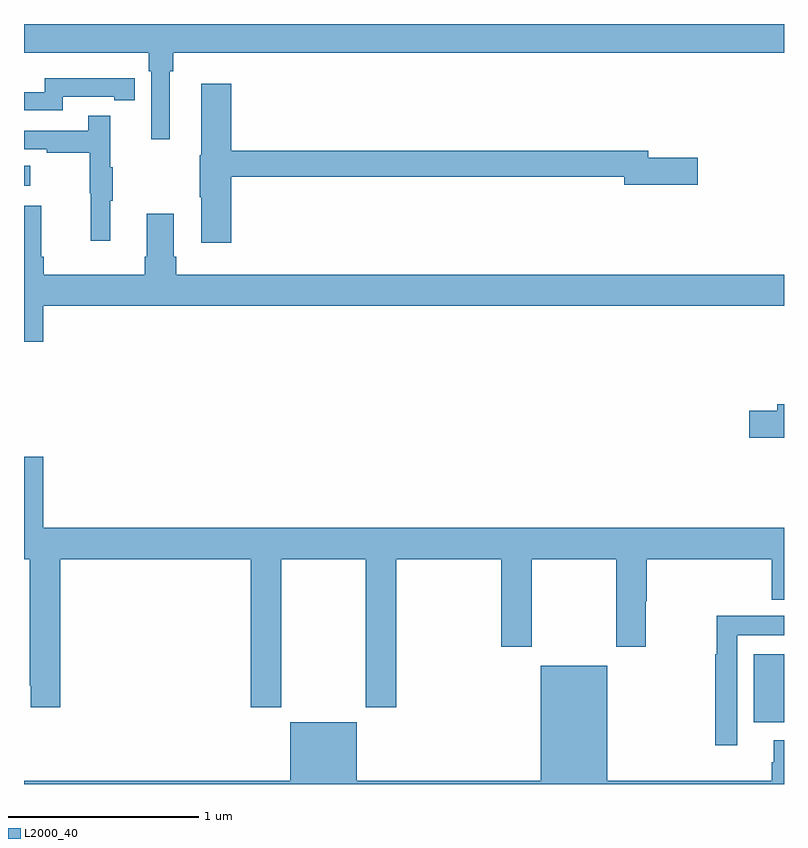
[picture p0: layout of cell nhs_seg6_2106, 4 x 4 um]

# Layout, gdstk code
import gdstk
lib = gdstk.Library(unit=1e-6, precision=1e-09)
def R(c, l, rs):  # rectangles x0, y0, x1, y1
    for r in rs: c.add(gdstk.rectangle(r[:2], r[2:], *l))
def P(c, l, *ps):  # polygons
    for p in ps: c.add(gdstk.Polygon(p, *l))
L2000_40 = (2000, 40)

nhs_seg6_2106 = lib.new_cell('nhs_seg6_2106')
R(nhs_seg6_2106, L2000_40, [(240.842,931.824,241,932.182), (237,934.649,237.034,934.753)])
P(nhs_seg6_2106, L2000_40, [(237.766,935.252),(237.785,935.252),(237.785,935.348),(241,935.348),(241,935.5),(237,935.5),(237,935.348),(237.656,935.348),(237.656,935.252),(237.669,935.252),(237.669,934.893),(237.766,934.893)],
  [(237.204,935.118),(237.476,935.118),(237.476,935.098),(237.584,935.098),(237.584,935.214),(237.476,935.214),(237.476,935.215),(237.108,935.215),(237.108,935.142),(237,935.142),(237,935.046),(237.204,935.046)],
  [(238.091,934.696),(240.158,934.696),(240.158,934.654),(240.547,934.654),(240.547,934.796),(240.286,934.796),(240.286,934.832),(238.091,934.832),(238.091,935.185),(237.932,935.185),(237.932,934.809),(237.925,934.809),(237.925,934.588),(237.932,934.588),(237.932,934.35),(238.091,934.35)],
  [(237.455,934.571),(237.466,934.571),(237.466,934.745),(237.455,934.745),(237.455,935.017),(237.337,935.017),(237.337,934.938),(237,934.938),(237,934.842),(237.121,934.842),(237.121,934.822),(237.345,934.822),(237.345,934.608),(237.352,934.608),(237.352,934.359),(237.455,934.359)],
  [(237.1,934.016),(241,934.016),(241,934.18),(237.8,934.18),(237.8,934.276),(237.787,934.276),(237.787,934.501),(237.647,934.501),(237.647,934.276),(237.635,934.276),(237.635,934.18),(237.104,934.18),(237.104,934.276),(237.091,934.276),(237.091,934.543),(237,934.543),(237,933.828),(237.1,933.828)],
  [(241,933.5),(240.965,933.5),(240.965,933.464),(240.816,933.464),(240.816,933.322),(241,933.322)],
  [(237.191,932.684),(238.193,932.684),(238.193,931.905),(238.353,931.905),(238.353,932.684),(238.798,932.684),(238.798,931.905),(238.958,931.905),(238.958,932.684),(239.513,932.684),(239.513,932.223),(239.673,932.223),(239.673,932.684),(240.118,932.684),(240.118,932.223),(240.273,932.223),(240.273,932.462),(240.278,932.462),(240.278,932.684),(240.935,932.684),(240.935,932.471),(241,932.471),(241,932.848),(237.1,932.848),(237.1,933.223),(237,933.223),(237,932.684),(237.031,932.684),(237.031,932.017),(237.035,932.017),(237.035,931.905),(237.191,931.905)],
  [(240.753,932.282),(241,932.282),(241,932.386),(240.645,932.386),(240.645,932.182),(240.637,932.182),(240.637,931.704),(240.753,931.704)],
  [(241,931.729),(240.947,931.729),(240.947,931.614),(240.935,931.614),(240.935,931.516),(240.07,931.516),(240.07,932.122),(239.72,932.122),(239.72,931.516),(238.75,931.516),(238.75,931.825),(238.4,931.825),(238.4,931.516),(237,931.516),(237,931.5),(241,931.5)])

lib.write_gds('nhs_seg6_2106.gds')
